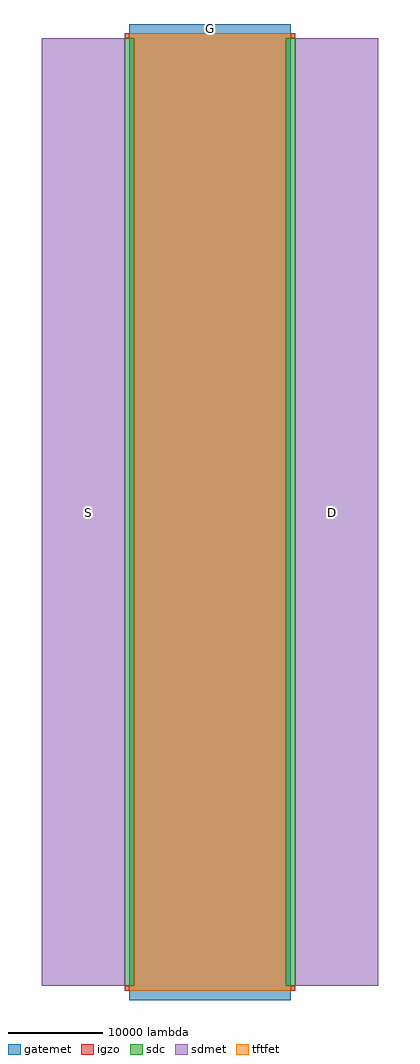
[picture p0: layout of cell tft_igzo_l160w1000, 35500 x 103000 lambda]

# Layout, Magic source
magic
tech igzo_mmm_lab
<< igzo >>
rect -9000 50000 -8500 50500
rect 8500 50000 9000 50500
rect -9000 -50500 -8500 -50000
rect 8500 -50500 9000 -50000
<< tftfet >>
rect -8500 50000 8500 50500
rect -8000 -50000 8000 50000
rect -8500 -50500 8500 -50000
<< sdc >>
rect -9000 -50000 -8000 50000
rect 8000 -50000 9000 50000
<< sdmet >>
rect -17750 -50000 -9000 50000
rect 9000 -50000 17750 50000
<< gatemet >>
rect -8500 -51500 8500 51500
<< labels >>
rlabel sdmet s -13363 -488 -12387 488 4 S
port 3 nsew
rlabel sdmet s 12387 -488 13363 488 4 D
port 5 nsew
rlabel gatemet s -488 50512 488 51488 4 G
port 7 nsew
<< end >>
